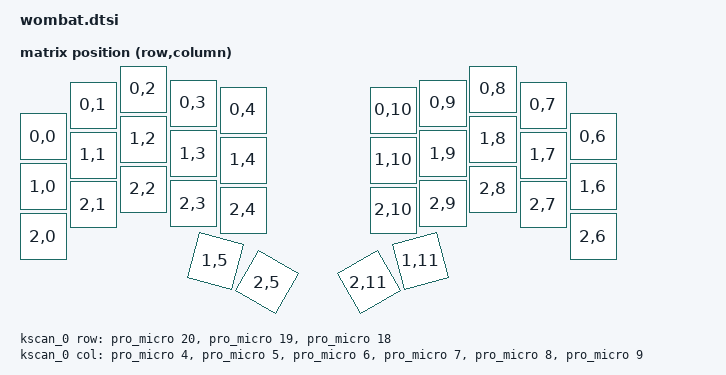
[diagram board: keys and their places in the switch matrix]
/*
 * Copyright (c) 2020 The ZMK Contributors
 *
 * SPDX-License-Identifier: MIT
 */

#include <dt-bindings/zmk/matrix_transform.h>
#include <physical_layouts.dtsi>

/ {
  chosen {
    zmk,kscan = &kscan_0;
    zmk,physical-layout = &layout_0;
  };

  default_transform: default_transform {
    compatible = "zmk,matrix-transform";
    columns = <12>;
    rows = <3>;
    map = <
    RC(0,0)  RC(0,1)  RC(0,2)  RC(0,3)  RC(0,4)    RC(0,10) RC(0,9) RC(0,8) RC(0,7) RC(0,6)
    RC(1,0)  RC(1,1)  RC(1,2)  RC(1,3)  RC(1,4)    RC(1,10) RC(1,9) RC(1,8) RC(1,7) RC(1,6)
    RC(2,0)  RC(2,1)  RC(2,2)  RC(2,3)  RC(2,4)    RC(2,10) RC(2,9) RC(2,8) RC(2,7) RC(2,6)
                               RC(1,5)  RC(2,5)    RC(2,11) RC(1,11)
    >;
  };

  kscan_0: kscan_0 {
      compatible = "zmk,kscan-gpio-matrix";
      label = "KSCAN";
      diode-direction = "row2col";

      row-gpios
          = <&pro_micro 20 GPIO_ACTIVE_HIGH>
          , <&pro_micro 19 GPIO_ACTIVE_HIGH>
          , <&pro_micro 18 GPIO_ACTIVE_HIGH>
          ;

      col-gpios
          = <&pro_micro 4 (GPIO_ACTIVE_HIGH | GPIO_PULL_DOWN)>
          , <&pro_micro 5 (GPIO_ACTIVE_HIGH | GPIO_PULL_DOWN)>
          , <&pro_micro 6 (GPIO_ACTIVE_HIGH | GPIO_PULL_DOWN)>
          , <&pro_micro 7 (GPIO_ACTIVE_HIGH | GPIO_PULL_DOWN)>
          , <&pro_micro 8 (GPIO_ACTIVE_HIGH | GPIO_PULL_DOWN)>
          , <&pro_micro 9 (GPIO_ACTIVE_HIGH | GPIO_PULL_DOWN)>
          ;
  };

    layout_0: layout_0 {
        compatible = "zmk,physical-layout";
        display-name = "Default";

        kscan = <&kscan_0>;
        transform = <&default_transform>;

        keys  //                     w   h    x    y     rot    rx    ry
            = <&key_physical_attrs 100 100    0   95       0     0     0>
            , <&key_physical_attrs 100 100  100   32       0     0     0>
            , <&key_physical_attrs 100 100  200    0       0     0     0>
            , <&key_physical_attrs 100 100  300   28       0     0     0>
            , <&key_physical_attrs 100 100  400   42       0     0     0>
            , <&key_physical_attrs 100 100  700   42       0     0     0>
            , <&key_physical_attrs 100 100  800   28       0     0     0>
            , <&key_physical_attrs 100 100  900    0       0     0     0>
            , <&key_physical_attrs 100 100 1000   32       0     0     0>
            , <&key_physical_attrs 100 100 1100   95       0     0     0>
            , <&key_physical_attrs 100 100    0  195       0     0     0>
            , <&key_physical_attrs 100 100  100  132       0     0     0>
            , <&key_physical_attrs 100 100  200  100       0     0     0>
            , <&key_physical_attrs 100 100  300  129       0     0     0>
            , <&key_physical_attrs 100 100  400  142       0     0     0>
            , <&key_physical_attrs 100 100  700  142       0     0     0>
            , <&key_physical_attrs 100 100  800  129       0     0     0>
            , <&key_physical_attrs 100 100  900  100       0     0     0>
            , <&key_physical_attrs 100 100 1000  132       0     0     0>
            , <&key_physical_attrs 100 100 1100  195       0     0     0>
            , <&key_physical_attrs 100 100    0  295       0     0     0>
            , <&key_physical_attrs 100 100  100  231       0     0     0>
            , <&key_physical_attrs 100 100  200  200       0     0     0>
            , <&key_physical_attrs 100 100  300  229       0     0     0>
            , <&key_physical_attrs 100 100  400  242       0     0     0>
            , <&key_physical_attrs 100 100  700  242       0     0     0>
            , <&key_physical_attrs 100 100  800  229       0     0     0>
            , <&key_physical_attrs 100 100  900  200       0     0     0>
            , <&key_physical_attrs 100 100 1000  231       0     0     0>
            , <&key_physical_attrs 100 100 1100  295       0     0     0>
            , <&key_physical_attrs 100 100  330  355    1500   430   455>
            , <&key_physical_attrs 100 100  430  355    3000   430   455>
            , <&key_physical_attrs 100 100  670  355 (-3000)   770   455>
            , <&key_physical_attrs 100 100  770  355 (-1500)   770   455>
            ;
    };

};
